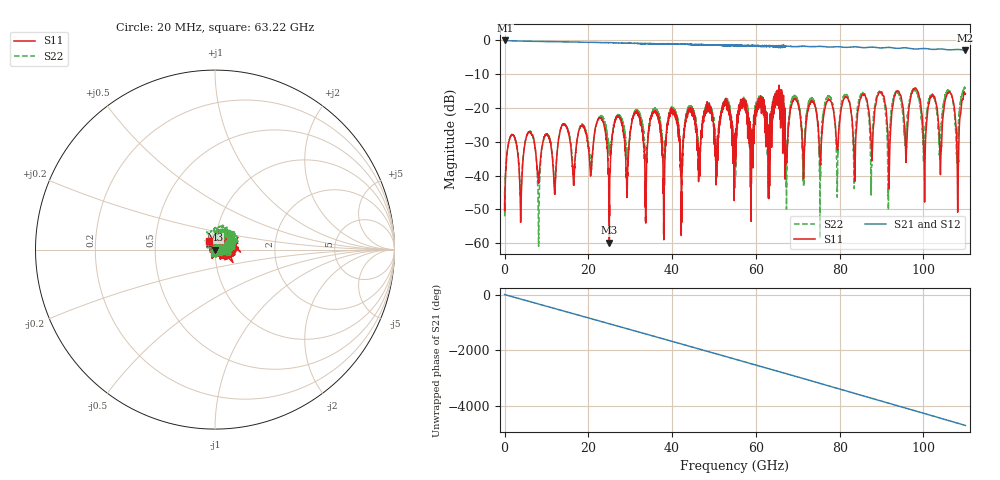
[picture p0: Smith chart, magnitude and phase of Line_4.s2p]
#  HZ  S  RI  R  50.00
! Rohde & Schwarz ZVA67 4Ports - Version 4.11 - 1305.7002k04 SN: 101032
! Date: 2026-02-18 15:34:40
! Measurements: S11 S21 S12 S22
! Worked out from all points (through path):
!   5500 points, 20 MHz to 110 GHz, reference 50 ohm
!   highest |S21| = 0.01 dB at 80 MHz (marker M1); lowest = -2.9 dB at 110 GHz (marker M2)
!   group delay of S21, straight-line fit = 118 ps
!   lowest |S11| = -59.8 dB at 25.02 GHz (marker M3), VSWR 1.00, Z = 49.9 + j0.0125 ohm
!   |S11| at or under -10 dB: start of sweep to end of sweep
!   |S22| runs from -60.9 to -13.8 dB; largest |S21 - S12| = 0.065
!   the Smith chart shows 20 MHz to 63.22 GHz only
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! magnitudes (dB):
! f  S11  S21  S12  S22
! 20 MHz  -48.4  0.0  -0.1  -44.6
! 80 MHz  -46.4  0.0  0.0  -48.7
! 1.72 GHz  -27.9  -0.1  -0.1  -28.0
! 8.14 GHz  -42.0  -0.3  -0.3  -60.9
! 18.36 GHz  -25.3  -0.5  -0.5  -24.9
! 25.02 GHz  -59.8  -0.6  -0.6  -32.9
! 26.84 GHz  -22.6  -0.7  -0.7  -22.4
! 33.7 GHz  -54.1  -1.0  -0.9  -35.4
! 36.68 GHz  -22.7  -1.0  -1.1  -22.1
! 38 GHz  -54.0  -1.0  -1.0  -34.6
! 40.04 GHz  -21.1  -1.0  -1.1  -20.0
! 42.14 GHz  -40.7  -1.1  -1.1  -35.5
! 44.24 GHz  -20.9  -1.2  -1.2  -19.6
! 55.02 GHz  -34.3  -1.5  -1.5  -32.9
! 73.34 GHz  -18.0  -1.8  -1.8  -17.4
! 75.26 GHz  -33.9  -1.8  -1.7  -51.1
! 81.38 GHz  -16.5  -2.0  -2.0  -15.9
! 91.68 GHz  -36.2  -2.0  -2.1  -37.3
! 98 GHz  -14.1  -2.5  -2.5  -14.7
! 106.4 GHz  -15.6  -2.8  -2.8  -15.4
! 108.2 GHz  -46.5  -2.7  -2.6  -28.7
! 110 GHz  -15.8  -2.9  -2.9  -14.3
